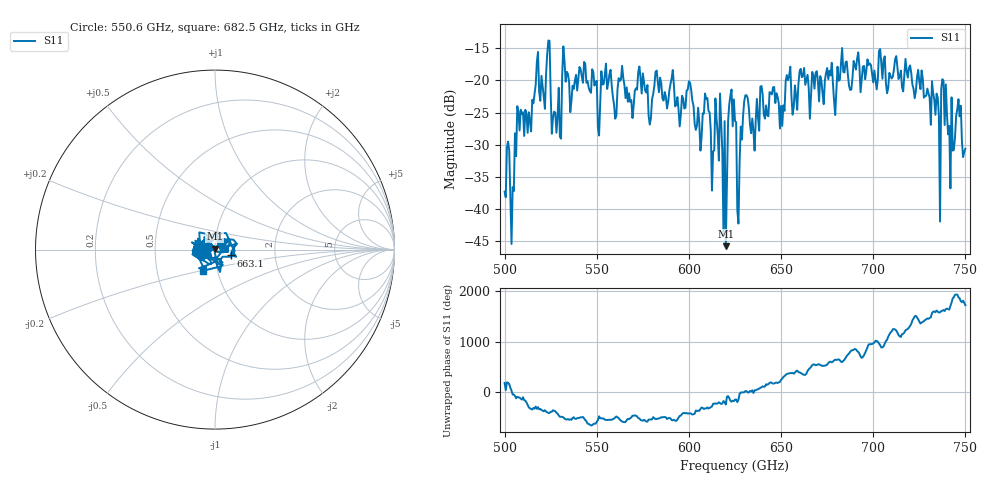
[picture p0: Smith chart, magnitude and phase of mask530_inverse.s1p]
!Created with skrf (http://scikit-rf.org).
# GHz S MA R 50.0
!freq magS11 angS11
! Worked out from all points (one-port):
!   401 points, 500 GHz to 750 GHz, reference 50 ohm
!   lowest |S11| = -45.7 dB at 620 GHz (marker M1), VSWR 1.01, Z = 49.8 + j0.487 ohm
!   |S11| at or under -10 dB: start of sweep to end of sweep
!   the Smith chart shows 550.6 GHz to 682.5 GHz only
!   S11 on the Smith chart (normalised r, x): 550.6 GHz: 0.92, +0.03; 663.1 GHz: 1.19, -0.08; 682.5 GHz: 0.86, -0.20
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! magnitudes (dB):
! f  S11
! 500 GHz  -37.3
! 504.4 GHz  -36.6
! 508.1 GHz  -27.8
! 517.5 GHz  -17.1
! 523.8 GHz  -13.8
! 526.9 GHz  -24.8
! 531.2 GHz  -19.0
! 542.5 GHz  -20.4
! 550.6 GHz  -27.4
! 562.5 GHz  -20.1
! 593.8 GHz  -22.6
! 610 GHz  -22.7
! 620 GHz  -45.7
! 622.5 GHz  -22.4
! 625 GHz  -26.3
! 627.5 GHz  -32.7
! 630.6 GHz  -22.3
! 634.4 GHz  -25.9
! 656.2 GHz  -25.3
! 663.1 GHz  -20.7
! 682.5 GHz  -17.5
! 687.5 GHz  -21.5
! 718.8 GHz  -19.6
! 735 GHz  -22.6
! 738.1 GHz  -20.1
! 743.1 GHz  -30.9
! 746.2 GHz  -22.9
! 750 GHz  -30.6
